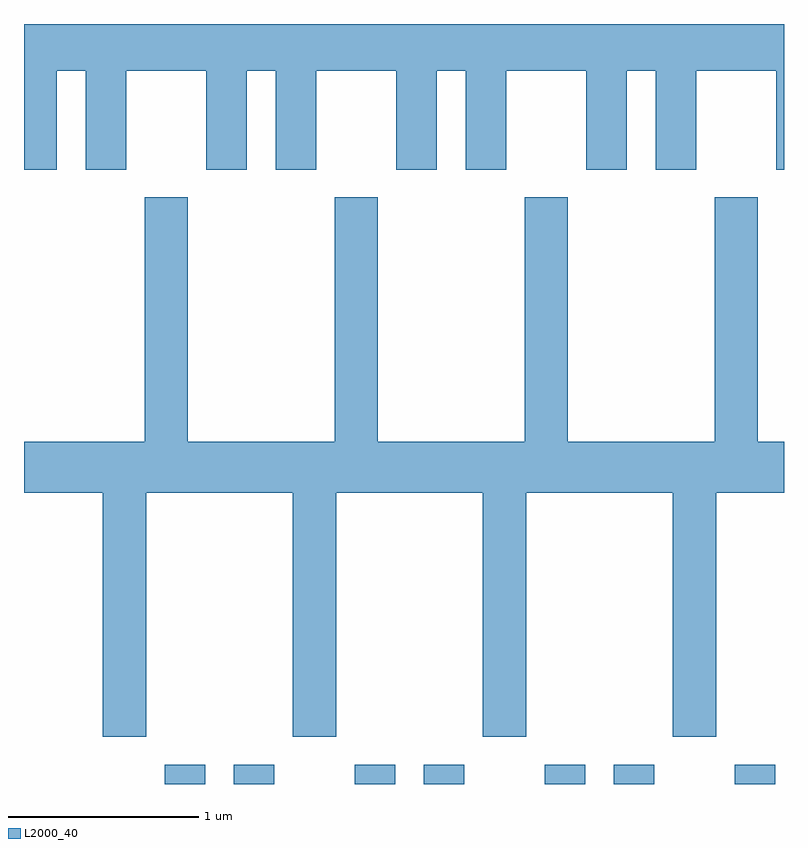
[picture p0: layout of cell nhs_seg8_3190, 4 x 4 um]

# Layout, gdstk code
import gdstk
lib = gdstk.Library(unit=1e-6, precision=1e-09)
def R(c, l, rs):  # rectangles x0, y0, x1, y1
    for r in rs: c.add(gdstk.rectangle(r[:2], r[2:], *l))
def P(c, l, *ps):  # polygons
    for p in ps: c.add(gdstk.Polygon(p, *l))
L2000_40 = (2000, 40)

nhs_seg8_3190 = lib.new_cell('nhs_seg8_3190')
R(nhs_seg8_3190, L2000_40, [(280.351,1930.342,280.564,1930.444), (280.716,1930.342,280.929,1930.444), (281.351,1930.342,281.564,1930.444), (281.716,1930.342,281.929,1930.444), (282.351,1930.342,282.564,1930.444), (282.716,1930.342,282.929,1930.444), (283.351,1930.342,283.564,1930.444)])
P(nhs_seg8_3190, L2000_40, [(279.784,1934.096),(279.936,1934.096),(279.936,1933.576),(280.149,1933.576),(280.149,1934.096),(280.571,1934.096),(280.571,1933.576),(280.784,1933.576),(280.784,1934.096),(280.936,1934.096),(280.936,1933.576),(281.149,1933.576),(281.149,1934.096),(281.571,1934.096),(281.571,1933.576),(281.784,1933.576),(281.784,1934.096),(281.936,1934.096),(281.936,1933.576),(282.149,1933.576),(282.149,1934.096),(282.571,1934.096),(282.571,1933.576),(282.784,1933.576),(282.784,1934.096),(282.936,1934.096),(282.936,1933.576),(283.149,1933.576),(283.149,1934.096),(283.571,1934.096),(283.571,1933.576),(283.611,1933.576),(283.611,1934.342),(279.611,1934.342),(279.611,1933.576),(279.784,1933.576)],
  [(280.254,1931.876),(281.026,1931.876),(281.026,1930.591),(281.254,1930.591),(281.254,1931.876),(282.026,1931.876),(282.026,1930.591),(282.254,1930.591),(282.254,1931.876),(283.026,1931.876),(283.026,1930.591),(283.254,1930.591),(283.254,1931.876),(283.611,1931.876),(283.611,1932.144),(283.474,1932.144),(283.474,1933.429),(283.246,1933.429),(283.246,1932.144),(282.474,1932.144),(282.474,1933.429),(282.246,1933.429),(282.246,1932.144),(281.474,1932.144),(281.474,1933.429),(281.246,1933.429),(281.246,1932.144),(280.474,1932.144),(280.474,1933.429),(280.246,1933.429),(280.246,1932.144),(279.611,1932.144),(279.611,1931.876),(280.026,1931.876),(280.026,1930.591),(280.254,1930.591)])

lib.write_gds('nhs_seg8_3190.gds')
